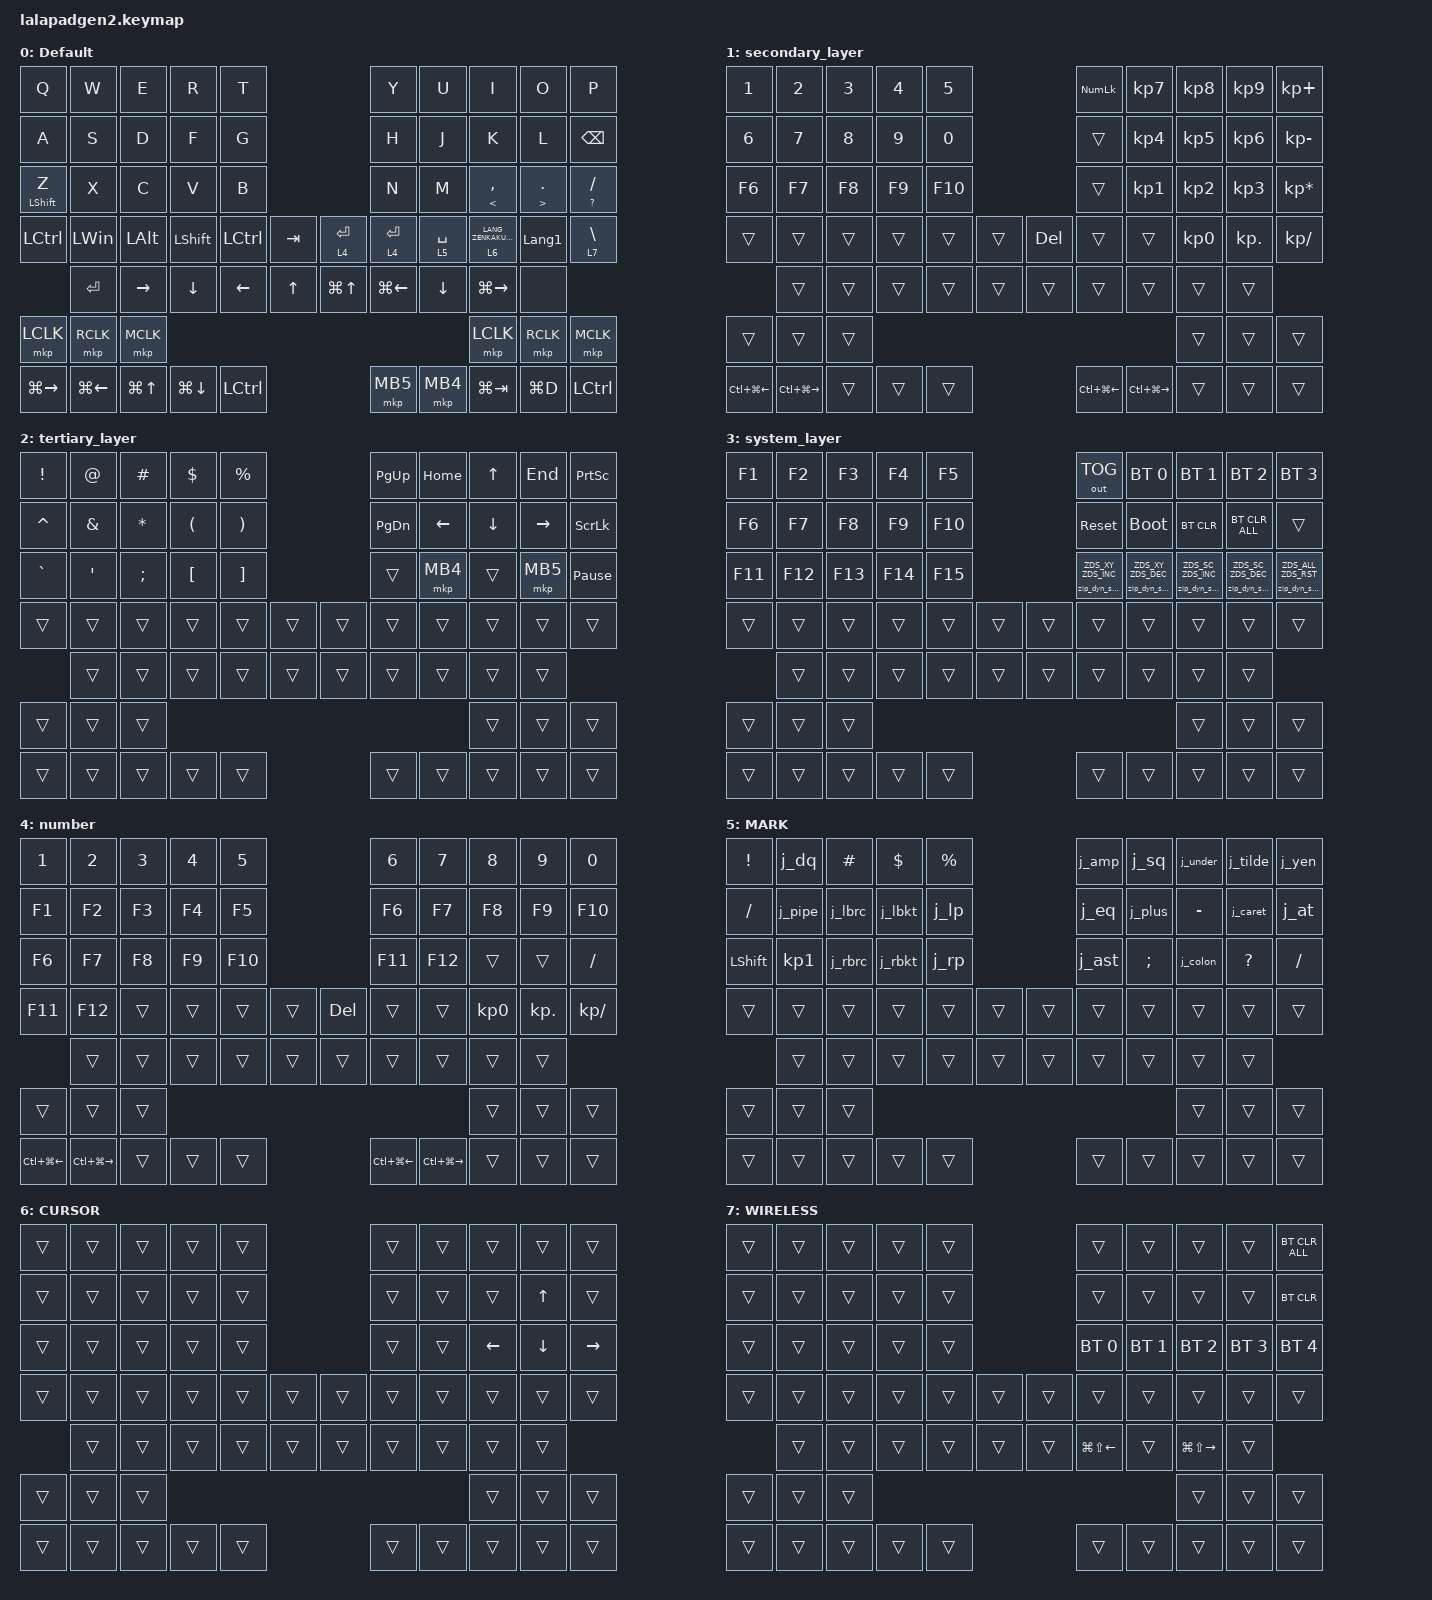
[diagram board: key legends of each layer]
#include <input/processors.dtsi>
#include <dt-bindings/zmk/zip_dynamic_scale.h>
#include <behaviors.dtsi>
#include <dt-bindings/zmk/bt.h>
#include <dt-bindings/zmk/keys.h>
#include <dt-bindings/zmk/outputs.h>
#include <dt-bindings/zmk/pointing.h>

#define DEFAULT_LAYER   0
#define SECONDARY_LAYER 1
#define TERTIARY_LAYER  2
#define SYSTEM_LAYER    3

&mt { quick-tap-ms = <200>; };

&lt { quick-tap-ms = <200>; };

/ {
    behaviors {
        zip_dyn_scale: zip_dyn_scale {
            compatible = "zmk,behavior-zip-dynamic-scale";
            #binding-cells = <2>;
        };

        zip_dyn_scale_set: zip_dyn_scale_set {
            compatible = "zmk,behavior-zip-dynamic-scale-set";
            #binding-cells = <2>;
        };

        mt2: mod_tap2 {
            compatible = "zmk,behavior-hold-tap";
            #binding-cells = <2>;
            flavor = "tap-preferred";
            tapping-term-ms = <200>;
            quick-tap-ms = <200>;
            require-prior-idle-ms = <125>;
            bindings = <&kp>, <&kp>;
        };

        tap_dance_layer_1and2: tap_dance_layer_1and2 {
            compatible = "zmk,behavior-tap-dance";
            label = "td_mo12";
            #binding-cells = <0>;
            bindings = <&mo 1>, <&mo 2>;
        };
    };

    combos {
        compatible = "zmk,combos";

        CONBO_ESC {
            bindings = <&kp ESCAPE>;
            key-positions = <0 1>;
        };

        COMBO_TAB {
            bindings = <&kp TAB>;
            key-positions = <11 12>;
        };

        BSPACE {
            bindings = <&kp BACKSPACE>;
            key-positions = <9 8>;
        };

        Delete {
            bindings = <&kp DELETE>;
            key-positions = <8 7>;
        };

        Insert {
            bindings = <&kp INSERT>;
            key-positions = <7 6>;
        };

        ScreenShot {
            bindings = <&kp PRINTSCREEN>;
            key-positions = <4 3>;
        };

        Emoji {
            bindings = <&kp LG(PERIOD)>;
            key-positions = <3 1>;
        };

        EN {
            bindings = <&kp LANG2>;
            key-positions = <12 13>;
        };

        JP {
            bindings = <&kp LANG1>;
            key-positions = <22 23>;
        };

        previous_click {
            bindings = <&mkp MB4>;
            key-positions = <16 17>;
        };

        Next-click {
            bindings = <&mkp MB5>;
            key-positions = <17 18>;
        };
    };

    /* --- 日本語JIS記号マクロ --- */

    macros {
        j_dq: j_dq {
            label = "DQ";
            compatible = "zmk,behavior-macro";
            #binding-cells = <0>;
            bindings = <&kp LS(N2)>;
        };

        j_amp: j_amp {
            label = "AMP";
            compatible = "zmk,behavior-macro";
            #binding-cells = <0>;
            bindings = <&kp LS(N6)>;
        };

        j_sq: j_sq {
            label = "SQ";
            compatible = "zmk,behavior-macro";
            #binding-cells = <0>;
            bindings = <&kp LS(N7)>;
        };

        j_eq: j_eq {
            label = "EQ";
            compatible = "zmk,behavior-macro";
            #binding-cells = <0>;
            bindings = <&kp LS(MINUS)>;
        };

        j_caret: j_cr {
            label = "CARET";
            compatible = "zmk,behavior-macro";
            #binding-cells = <0>;
            bindings = <&kp EQUAL>;
        };

        j_yen: j_yen {
            label = "YEN";
            compatible = "zmk,behavior-macro";
            #binding-cells = <0>;
            bindings = <&kp INT1>;
        };

        j_plus: j_plus {
            label = "PLUS";
            compatible = "zmk,behavior-macro";
            #binding-cells = <0>;
            bindings = <&kp COLON>;
        };

        j_tilde: j_tilde {
            label = "TILDE";
            compatible = "zmk,behavior-macro";
            #binding-cells = <0>;
            bindings = <&kp PLUS>;
        };

        j_pipe: j_pipe {
            label = "PIPE";
            compatible = "zmk,behavior-macro";
            #binding-cells = <0>;
            bindings = <&kp LS(INT1)>;
        };

        j_at: j_at {
            label = "AT";
            compatible = "zmk,behavior-macro";
            #binding-cells = <0>;
            bindings = <&kp LBKT>;
        };

        j_colon: j_colon {
            label = "COLON";
            compatible = "zmk,behavior-macro";
            #binding-cells = <0>;
            bindings = <&kp SQT>;
        };

        j_ast: j_ast {
            label = "AST";
            compatible = "zmk,behavior-macro";
            #binding-cells = <0>;
            bindings = <&kp LS(SQT)>;
        };

        j_bt: j_bt {
            label = "BT";
            compatible = "zmk,behavior-macro";
            #binding-cells = <0>;
            bindings = <&kp LS(RBKT)>;
        };

        j_under: j_under {
            label = "UNDER";
            compatible = "zmk,behavior-macro";
            #binding-cells = <0>;
            bindings = <&kp LS(INT1)>;
        };

        j_lbkt: j_lbkt {
            label = "L_BKT";
            compatible = "zmk,behavior-macro";
            #binding-cells = <0>;
            bindings = <&kp RBKT>;
        };

        j_rbkt: j_rbkt {
            label = "R_BKT";
            compatible = "zmk,behavior-macro";
            #binding-cells = <0>;
            bindings = <&kp BACKSLASH>;
        };

        j_lp: j_lp {
            label = "L_PAREN";
            compatible = "zmk,behavior-macro";
            #binding-cells = <0>;
            bindings = <&kp ASTRK>;
        };

        j_rp: j_rp {
            label = "R_PAREN";
            compatible = "zmk,behavior-macro";
            #binding-cells = <0>;
            bindings = <&kp LEFT_PARENTHESIS>;
        };

        j_lbrc: j_lbrc {
            label = "L_BRACE";
            compatible = "zmk,behavior-macro";
            #binding-cells = <0>;
            bindings = <&kp RIGHT_BRACE>;
        };

        j_rbrc: j_rbrc {
            label = "R_BRACE";
            compatible = "zmk,behavior-macro";
            #binding-cells = <0>;
            bindings = <&kp LS(BSLH)>;
        };
    };

    keymap {
        compatible = "zmk,keymap";

        DEFAULT_LAYER {
            display-name = "Default";
            bindings = <
&kp Q                &kp W               &kp E             &kp R               &kp T                                 &kp Y               &kp U        &kp I                      &kp O                    &kp P
&kp A                &kp S               &kp D             &kp F               &kp G                                 &kp H               &kp J        &kp K                      &kp L                    &kp BACKSPACE
&mt2 LEFT_SHIFT Z    &kp X               &kp C             &kp V               &kp B                                 &kp N               &kp M        &mt LESS_THAN COMMA        &mt GREATER_THAN PERIOD  &mt QUESTION SLASH
&kp LCTRL            &kp LWIN            &kp LEFT_ALT      &kp LEFT_SHIFT      &kp LCTRL  &kp TAB  &lt 4 ENTER       &lt 4 ENTER         &lt 5 SPACE  &lt 6 LANG_ZENKAKUHANKAKU  &kp LANGUAGE_1           &lt 7 BACKSLASH
                     &kp ENTER           &kp RIGHT         &kp DOWN            &kp LEFT   &kp UP   &kp LG(UP_ARROW)  &kp LG(LEFT_ARROW)  &kp DOWN     &kp LG(RIGHT_ARROW)        &none
&mkp LCLK            &mkp RCLK           &mkp MCLK                                                                                                    &mkp LCLK                  &mkp RCLK                &mkp MCLK
&kp LG(RIGHT_ARROW)  &kp LG(LEFT_ARROW)  &kp LG(UP_ARROW)  &kp LG(DOWN_ARROW)  &kp LCTRL                             &mkp MB5            &mkp MB4     &kp LG(TAB)                &kp LG(D)                &kp LCTRL
            >;
        };

        SECONDARY_LAYER {
            display-name = "secondary_layer";
            bindings = <
&kp NUMBER_1      &kp NUMBER_2       &kp NUMBER_3  &kp NUMBER_4  &kp N5                    &kp KP_NUMLOCK    &kp KP_NUMBER_7    &kp KP_NUMBER_8  &kp KP_NUMBER_9  &kp KP_PLUS
&kp NUMBER_6      &kp N7             &kp N8        &kp N9        &kp N0                    &trans            &kp KP_NUMBER_4    &kp KP_NUMBER_5  &kp KP_NUMBER_6  &kp KP_MINUS
&kp F6            &kp F7             &kp F8        &kp F9        &kp F10                   &trans            &kp KP_NUMBER_1    &kp KP_NUMBER_2  &kp KP_NUMBER_3  &kp KP_ASTERISK
&trans            &trans             &trans        &trans        &trans   &trans  &kp DEL  &trans            &trans             &kp KP_NUMBER_0  &kp KP_DOT       &kp KP_DIVIDE
                  &trans             &trans        &trans        &trans   &trans  &trans   &trans            &trans             &trans           &trans
&trans            &trans             &trans                                                                                     &trans           &trans           &trans
&kp LC(LG(LEFT))  &kp LC(LG(RIGHT))  &trans        &trans        &trans                    &kp LC(LG(LEFT))  &kp LC(LG(RIGHT))  &trans           &trans           &trans
            >;
        };

        TERTIARY_LAYER {
            display-name = "tertiary_layer";
            bindings = <
&kp EXCLAMATION  &kp AT_SIGN    &kp HASH      &kp DOLLAR            &kp PERCENT                            &kp PAGE_UP    &kp HOME  &kp UP_ARROW    &kp END    &kp PRINTSCREEN
&kp CARET        &kp AMPERSAND  &kp ASTERISK  &kp LEFT_PARENTHESIS  &kp RIGHT_PARENTHESIS                  &kp PAGE_DOWN  &kp LEFT  &kp DOWN_ARROW  &kp RIGHT  &kp SCROLLLOCK
&kp GRAVE        &kp SQT        &kp SEMI      &kp LEFT_BRACKET      &kp RIGHT_BRACKET                      &trans         &mkp MB4  &trans          &mkp MB5   &kp PAUSE_BREAK
&trans           &trans         &trans        &trans                &trans                 &trans  &trans  &trans         &trans    &trans          &trans     &trans
                 &trans         &trans        &trans                &trans                 &trans  &trans  &trans         &trans    &trans          &trans
&trans           &trans         &trans                                                                                              &trans          &trans     &trans
&trans           &trans         &trans        &trans                &trans                                 &trans         &trans    &trans          &trans     &trans
            >;
        };

        SYSTEM_LAYER {
            display-name = "system_layer";
            bindings = <
&kp F1   &kp F2   &kp F3   &kp F4   &kp F5                   &out OUT_TOG                   &bt BT_SEL 0                   &bt BT_SEL 1                   &bt BT_SEL 2                   &bt BT_SEL 3
&kp F6   &kp F7   &kp F8   &kp F9   &kp F10                  &sys_reset                     &bootloader                    &bt BT_CLR                     &bt BT_CLR_ALL                 &trans
&kp F11  &kp F12  &kp F13  &kp F14  &kp F15                  &zip_dyn_scale ZDS_XY ZDS_INC  &zip_dyn_scale ZDS_XY ZDS_DEC  &zip_dyn_scale ZDS_SC ZDS_INC  &zip_dyn_scale ZDS_SC ZDS_DEC  &zip_dyn_scale ZDS_ALL ZDS_RST
&trans   &trans   &trans   &trans   &trans   &trans  &trans  &trans                         &trans                         &trans                         &trans                         &trans
         &trans   &trans   &trans   &trans   &trans  &trans  &trans                         &trans                         &trans                         &trans
&trans   &trans   &trans                                                                                                   &trans                         &trans                         &trans
&trans   &trans   &trans   &trans   &trans                   &trans                         &trans                         &trans                         &trans                         &trans
            >;
        };

        NUMBER {
            display-name = "number";
            bindings = <
&kp NUMBER_1      &kp NUMBER_2       &kp NUMBER_3  &kp NUMBER_4  &kp N5                    &kp N6            &kp N7             &kp N8           &kp N9      &kp N0
&kp F1            &kp F2             &kp F3        &kp F4        &kp F5                    &kp F6            &kp F7             &kp F8           &kp F9      &kp F10
&kp F6            &kp F7             &kp F8        &kp F9        &kp F10                   &kp F11           &kp F12            &trans           &trans      &kp SLASH
&kp F11           &kp F12            &trans        &trans        &trans   &trans  &kp DEL  &trans            &trans             &kp KP_NUMBER_0  &kp KP_DOT  &kp KP_DIVIDE
                  &trans             &trans        &trans        &trans   &trans  &trans   &trans            &trans             &trans           &trans
&trans            &trans             &trans                                                                                     &trans           &trans      &trans
&kp LC(LG(LEFT))  &kp LC(LG(RIGHT))  &trans        &trans        &trans                    &kp LC(LG(LEFT))  &kp LC(LG(RIGHT))  &trans           &trans      &trans
            >;
        };

        MARK {
            bindings = <
&kp EXCLAMATION  &j_dq      &kp HASH  &kp DOLLAR  &kp PERCENT                  &j_amp  &j_sq          &j_under   &j_tilde      &j_yen
&kp SLASH        &j_pipe    &j_lbrc   &j_lbkt     &j_lp                        &j_eq   &j_plus        &kp MINUS  &j_caret      &j_at
&kp LEFT_SHIFT   &kp KP_N1  &j_rbrc   &j_rbkt     &j_rp                        &j_ast  &kp SEMICOLON  &j_colon   &kp QUESTION  &kp SLASH
&trans           &trans     &trans    &trans      &trans       &trans  &trans  &trans  &trans         &trans     &trans        &trans
                 &trans     &trans    &trans      &trans       &trans  &trans  &trans  &trans         &trans     &trans
&trans           &trans     &trans                                                                    &trans     &trans        &trans
&trans           &trans     &trans    &trans      &trans                       &trans  &trans         &trans     &trans        &trans
            >;
        };

        CURSOR {
            bindings = <
&trans  &trans  &trans  &trans  &trans                  &trans  &trans  &trans          &trans          &trans
&trans  &trans  &trans  &trans  &trans                  &trans  &trans  &trans          &kp UP_ARROW    &trans
&trans  &trans  &trans  &trans  &trans                  &trans  &trans  &kp LEFT_ARROW  &kp DOWN_ARROW  &kp RIGHT_ARROW
&trans  &trans  &trans  &trans  &trans  &trans  &trans  &trans  &trans  &trans          &trans          &trans
        &trans  &trans  &trans  &trans  &trans  &trans  &trans  &trans  &trans          &trans
&trans  &trans  &trans                                                  &trans          &trans          &trans
&trans  &trans  &trans  &trans  &trans                  &trans  &trans  &trans          &trans          &trans
            >;
        };

        WIRELESS {
            bindings = <
&trans  &trans  &trans  &trans  &trans                  &trans                  &trans        &trans                   &trans        &bt BT_CLR_ALL
&trans  &trans  &trans  &trans  &trans                  &trans                  &trans        &trans                   &trans        &bt BT_CLR
&trans  &trans  &trans  &trans  &trans                  &bt BT_SEL 0            &bt BT_SEL 1  &bt BT_SEL 2             &bt BT_SEL 3  &bt BT_SEL 4
&trans  &trans  &trans  &trans  &trans  &trans  &trans  &trans                  &trans        &trans                   &trans        &trans
        &trans  &trans  &trans  &trans  &trans  &trans  &kp LG(LS(LEFT_ARROW))  &trans        &kp LG(LS(RIGHT_ARROW))  &trans
&trans  &trans  &trans                                                                        &trans                   &trans        &trans
&trans  &trans  &trans  &trans  &trans                  &trans                  &trans        &trans                   &trans        &trans
            >;
        };
    };

    conditional_layers {
        compatible = "zmk,conditional-layers";

        Cond_Syslayer {
            if-layers = <1 2>;
            then-layer = <3>;
        };
    };
};
